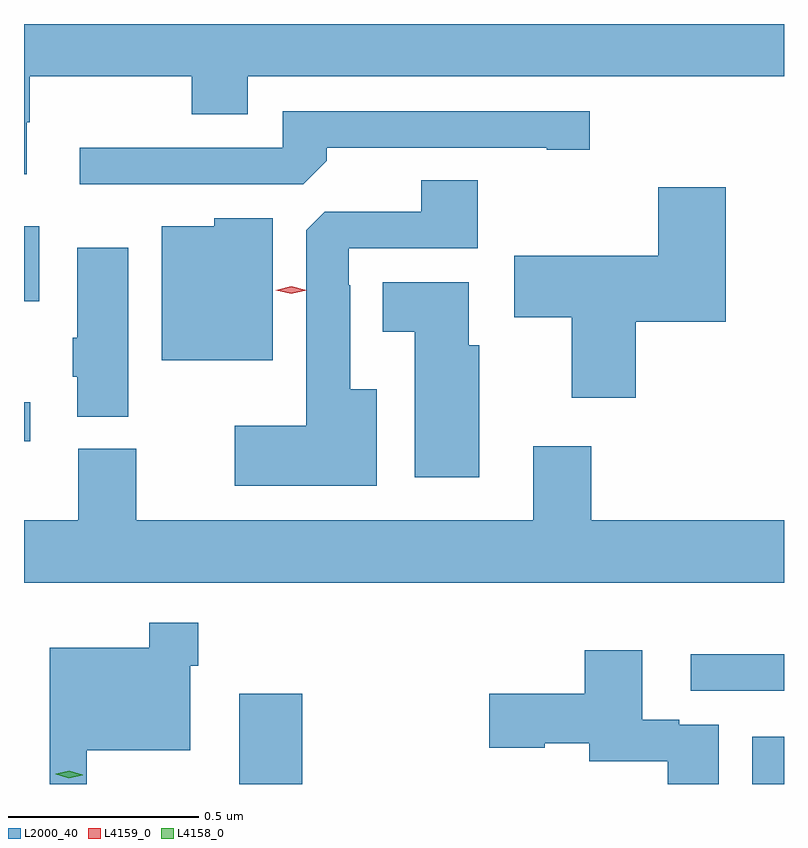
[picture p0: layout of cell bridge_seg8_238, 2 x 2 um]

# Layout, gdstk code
import gdstk
lib = gdstk.Library(unit=1e-6, precision=1e-09)
def R(c, l, rs):  # rectangles x0, y0, x1, y1
    for r in rs: c.add(gdstk.rectangle(r[:2], r[2:], *l))
def P(c, l, *ps):  # polygons
    for p in ps: c.add(gdstk.Polygon(p, *l))
L2000_40 = (2000, 40)
L4158_0 = (4158, 0)
L4159_0 = (4159, 0)

bridge_seg8_238 = lib.new_cell('bridge_seg8_238')
R(bridge_seg8_238, L2000_40, [(246.152,1150.602,246.318,1150.84), (247.502,1150.602,247.586,1150.726), (247.341,1150.848,247.586,1150.944), (245.586,1151.504,245.602,1151.606), (245.586,1151.873,245.626,1152.07)])
P(bridge_seg8_238, L2000_40, [(245.593,1152.344),(245.601,1152.344),(245.601,1152.464),(246.028,1152.464),(246.028,1152.365),(246.175,1152.365),(246.175,1152.464),(247.586,1152.464),(247.586,1152.602),(245.586,1152.602),(245.586,1152.207),(245.593,1152.207)],
  [(246.383,1152.242),(246.383,1152.276),(246.962,1152.276),(246.962,1152.271),(247.075,1152.271),(247.075,1152.372),(246.267,1152.372),(246.267,1152.276),(245.733,1152.276),(245.733,1152.18),(246.321,1152.18)],
  [(246.514,1151.641),(246.445,1151.641),(246.445,1151.915),(246.441,1151.915),(246.441,1152.012),(246.78,1152.012),(246.78,1152.191),(246.632,1152.191),(246.632,1152.108),(246.378,1152.108),(246.329,1152.059),(246.329,1151.545),(246.141,1151.545),(246.141,1151.387),(246.514,1151.387)],
  [(247.196,1151.819),(247.433,1151.819),(247.433,1152.172),(247.255,1152.172),(247.255,1151.992),(246.876,1151.992),(246.876,1151.83),(247.028,1151.83),(247.028,1151.619),(247.196,1151.619)],
  [(246.241,1152.091),(246.087,1152.091),(246.087,1152.07),(245.948,1152.07),(245.948,1151.717),(246.241,1151.717)],
  [(245.86,1152.013),(245.726,1152.013),(245.726,1151.777),(245.714,1151.777),(245.714,1151.674),(245.726,1151.674),(245.726,1151.569),(245.86,1151.569)],
  [(246.784,1151.757),(246.757,1151.757),(246.757,1151.923),(246.53,1151.923),(246.53,1151.792),(246.614,1151.792),(246.614,1151.409),(246.784,1151.409)],
  [(247.586,1151.296),(247.079,1151.296),(247.079,1151.491),(246.926,1151.491),(246.926,1151.296),(245.881,1151.296),(245.881,1151.484),(245.729,1151.484),(245.729,1151.296),(245.586,1151.296),(245.586,1151.132),(247.586,1151.132)],
  [(245.751,1150.691),(246.024,1150.691),(246.024,1150.913),(246.044,1150.913),(246.044,1151.026),(245.916,1151.026),(245.916,1150.96),(245.654,1150.96),(245.654,1150.602),(245.751,1150.602)],
  [(247.414,1150.758),(247.31,1150.758),(247.31,1150.771),(247.213,1150.771),(247.213,1150.954),(247.061,1150.954),(247.061,1150.839),(246.81,1150.839),(246.81,1150.697),(246.956,1150.697),(246.956,1150.709),(247.073,1150.709),(247.073,1150.662),(247.28,1150.662),(247.28,1150.602),(247.414,1150.602)])
P(bridge_seg8_238, L4158_0, [(245.704,1150.617),(245.669,1150.628),(245.669,1150.629),(245.669,1150.629),(245.705,1150.637),(245.74,1150.626),(245.74,1150.626),(245.74,1150.625)])
P(bridge_seg8_238, L4159_0, [(246.289,1151.892),(246.248,1151.902),(246.248,1151.902),(246.248,1151.902),(246.289,1151.912),(246.33,1151.902),(246.33,1151.902),(246.33,1151.902)])

lib.write_gds('bridge_seg8_238.gds')
